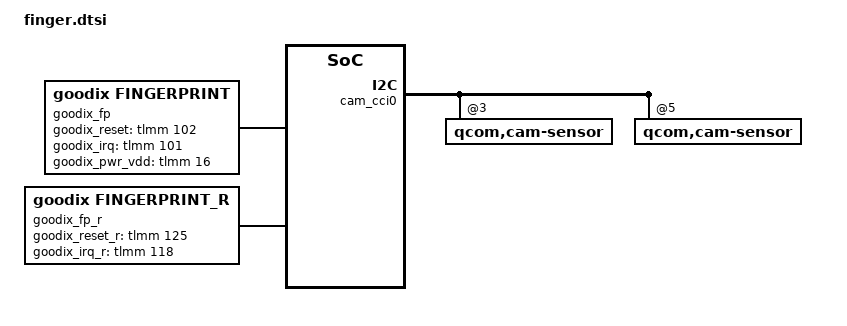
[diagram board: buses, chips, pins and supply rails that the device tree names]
/*
 * Copyright (c) 2015-2019, The Linux Foundation. All rights reserved.
 *
 * This program is free software; you can redistribute it and/or modify
 * it under the terms of the GNU General Public License version 2 and
 * only version 2 as published by the Free Software Foundation.
 *
 * This program is distributed in the hope that it will be useful,
 * but WITHOUT ANY WARRANTY; without even the implied warranty of
 * MERCHANTABILITY or FITNESS FOR A PARTICULAR PURPOSE.  See the
 * GNU General Public License for more details.
 */
&soc {
       /* used for fingerprint device as platform device added by nubia start*/
       goodix_fp{
                status = "ok";
                //reg = <0>;
                compatible = "goodix,fingerprint";
                spi-max-frequency = <4800000>;
                pinctrl-names = "gf_fp_active", "gf_fp_suspend";
                pinctrl-0 = <&goodix_pwr_vdd_active &goodix_reset_active &goodix_irq_active>;
                pinctrl-1 = <&goodix_pwr_vdd_sleep &goodix_reset_sleep &goodix_irq_sleep>;
                goodix,goodix_reset = <&tlmm 102 0>;
                goodix,goodix_irq = <&tlmm 101 0>;
                goodix,goodix_pwr_vdd = <&tlmm 16 0>;
        };
	goodix_fp_r{
	        status = "ok";
	        //reg = <0>;
	        compatible = "goodix,fingerprint_r";
	        spi-max-frequency = <4800000>;
	        pinctrl-names = "gf_fp_r_active", "gf_fp_r_suspend";
	        pinctrl-0 = <&goodix_reset_r_active &goodix_irq_r_active>;
	        pinctrl-1 = <&goodix_reset_r_sleep &goodix_irq_r_sleep>;
	        goodix,goodix_reset_r = <&tlmm 125 0>;
	        goodix,goodix_irq_r = <&tlmm 118 0>;
	};
	/* used for fingerprint device as platform device added by nubia end*/
};

/*****finger pinctrl start *****/
&tlmm {
		goodix_pwr_vdd {
			goodix_pwr_vdd_active: goodix_pwr_vdd_active {
				mux {
					pins = "gpio16";
					function = "gpio";
				};

				config {
					pins = "gpio16";
					drive-strength = <6>;
					bias-pull-up;
				};
			};

			goodix_pwr_vdd_sleep: goodix_pwr_vdd_sleep {
				mux {
					pins = "gpio16";
					function = "gpio";
				};

				config {
					pins = "gpio16";
					drive-strength = <6>;
					bias-pull-up;
				};
			};
		};
		goodix_pwr_r_vdd {
                        goodix_pwr_r_vdd_active: goodix_pwr_r_vdd_active {
                                mux {
                                        pins = "gpio16";
                                        function = "gpio";
                                };

                                config {
                                        pins = "gpio16";
                                        drive-strength = <6>;
                                        bias-pull-up;
                                };
                        };

                        goodix_pwr_r_vdd_sleep: goodix_pwr_r_vdd_sleep {
                                mux {
                                        pins = "gpio16";
                                        function = "gpio";
                                };

                                config {
                                        pins = "gpio16";
                                        drive-strength = <6>;
                                        bias-pull-up;
                                };
                        };
                };
		goodix_reset {
			goodix_reset_active: goodix_reset_active {
				mux {
					pins = "gpio102";
					function = "gpio";
				};

				config {
					pins = "gpio102";
					drive-strength = <6>;
					bias-pull-up;
				};
			};

			goodix_reset_sleep: goodix_reset_sleep {
				mux {
					pins = "gpio102";
					function = "gpio";
				};

				config {
					pins = "gpio102";
					drive-strength = <6>;
					bias-pull-up;
				};
			};
		};
		goodix_reset_r {
                        goodix_reset_r_active: goodix_reset_r_active {
                                mux {
                                        pins = "gpio125";
                                        function = "gpio";
                                };

                                config {
                                        pins = "gpio125";
                                        drive-strength = <6>;
                                        bias-pull-up;
                                };
                        };

                        goodix_reset_r_sleep: goodix_reset_r_sleep {
                                mux {
                                        pins = "gpio125";
                                        function = "gpio";
                                };

                                config {
                                        pins = "gpio125";
                                        drive-strength = <6>;
                                        bias-pull-up;
                                };
                        };
                };
		goodix_irq {
			goodix_irq_active: goodix_irq_active {
				mux {
					pins = "gpio101";
					function = "gpio";
				};

				config {
					pins = "gpio101";
					drive-strength = <6>;
					bias-disable;
				};
			};

			goodix_irq_sleep: goodix_irq_sleep {
				mux {
					pins = "gpio101";
					function = "gpio";
				};

				config {
					pins = "gpio101";
					drive-strength = <6>;
					bias-disable;
				};
			};
		};
		goodix_irq_r {
                        goodix_irq_r_active: goodix_irq_r_active {
                                mux {
                                        pins = "gpio118";
                                        function = "gpio";
                                };

                                config {
                                        pins = "gpio118";
                                        drive-strength = <6>;
                                        bias-disable;
                                };
                        };

                        goodix_irq_r_sleep: goodix_irq_r_sleep {
                                mux {
                                        pins = "gpio118";
                                        function = "gpio";
                                };

                                config {
                                        pins = "gpio118";
                                        drive-strength = <6>;
                                        bias-disable;
                                };
                        };
                };
};

/* Depend on hardware SCH, overrides conflict  start*/
&tlmm {
	pcie1 {
		/delete-node/ pcie1_perst_default;
	};

	aqt_intr {
		/delete-node/ aqt_intr_default;
	};

	/delete-node/ cam_sensor_mclk3_active;
	/delete-node/ cam_sensor_mclk3_suspend;
	/delete-node/ usb2_id_det_default;
	/delete-node/ emac_rgmii_rxd1;
};

&pcie1 {
	/delete-property/ perst-gpio;
};

&extcon_usb1 {
	/delete-property/ id-gpio;
	/delete-property/ pinctrl-0;
	/delete-property/ pinctrl-names;
};

&usb1 {
	/delete-property/ extcon;
	status = "disabled";
};

&vendor {
	/delete-property/ extcon_usb1;
};

&cam_cci0 {
	qcom,cam-sensor@3 {
		/delete-property/ gpios;
	};
	qcom,cam-sensor@5 {
		/delete-property/ gpios;
	};
};

&aqt1000_cdc {
	/delete-property/ qcom,gpio-connect;
};
/* Depend on hardware SCH, overrides conflict  end*/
